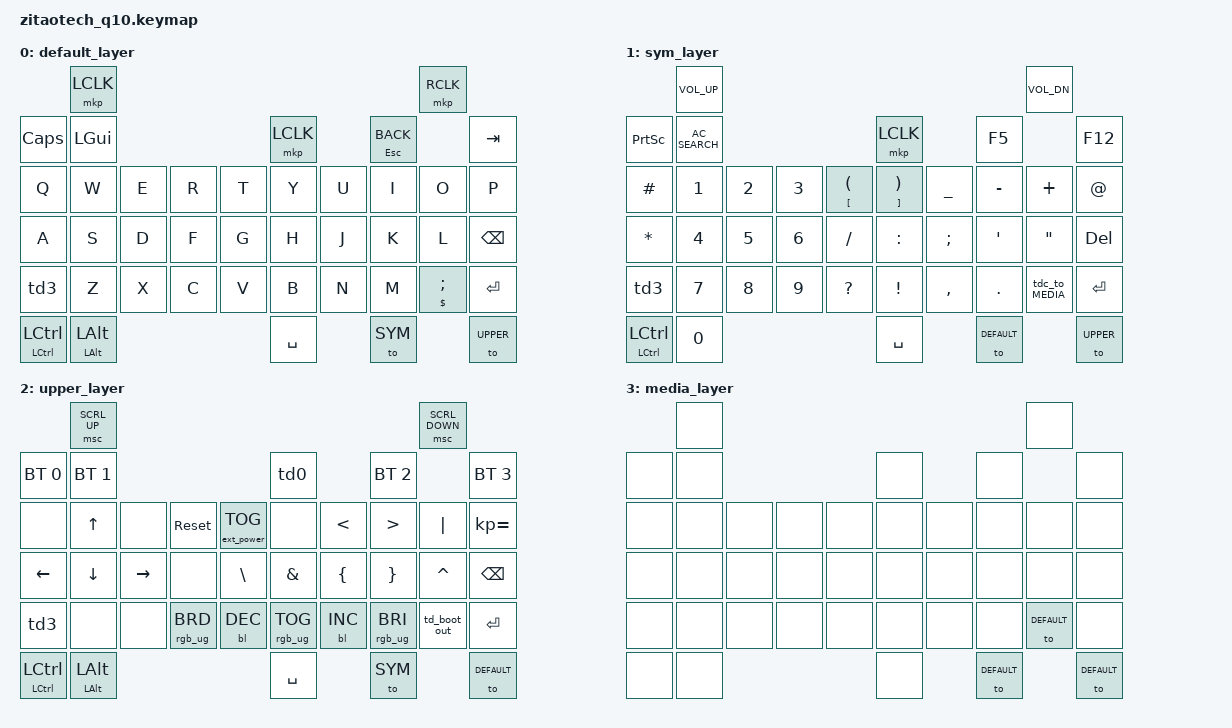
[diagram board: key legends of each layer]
/*
 * Copyright (c) 2023 ZitaoTech
 *
 * SPDX-License-Identifier: MIT
 */
   
#include <behaviors.dtsi>
#include <dt-bindings/zmk/keys.h>
#include <dt-bindings/zmk/bt.h>
#include <dt-bindings/zmk/outputs.h>
#include <dt-bindings/zmk/mouse.h>
#include <dt-bindings/zmk/backlight.h>
#include <dt-bindings/zmk/ext_power.h>
#include <dt-bindings/zmk/rgb.h>


#include <zephyr/dt-bindings/input/input-event-codes.h>
#include <dt-bindings/zmk/keys.h>

#define DEFAULT 0
#define SYM 1
#define UPPER 2
#define MEDIA 3

#define SL_TO(layer) &sl_to layer layer //tap -> sticky layer, double tap -> to layer

&sl {
    release-after-ms = <3000>;
    };


/ {
    behaviors {
        td0: tap_dance_0 {
            compatible = "zmk,behavior-tap-dance";
            #binding-cells = <0>;
            tapping-term-ms = <400>;
            bindings = <&mkp LCLK>, <&bt BT_CLR>;
        };
    };
    behaviors {
        td_boot_out: td_boot_out {
            compatible = "zmk,behavior-tap-dance";
            #binding-cells = <0>;
            tapping-term-ms = <400>;           
            bindings = <&bootloader>, <&out OUT_TOG>;
        };
    };
    behaviors {
        tdc_to_SYM: td_comma_to_layer {
            compatible = "zmk,behavior-tap-dance";
            #binding-cells = <0>;
            tapping-term-ms = <400>;
            bindings = <&mt DLLR SEMI>, <&to SYM>;
        };
    };
    behaviors {
        tdc_to_MEDIA: td_mute_to_layer {
            compatible = "zmk,behavior-tap-dance";
            #binding-cells = <0>;
            tapping-term-ms = <400>;
            bindings = <&kp C_MUTE>, <&to MEDIA>;
        };
    };
    behaviors {
        td1: tap_stickylayer_doubletap_tolayer_1 {
            compatible = "zmk,behavior-tap-dance";
            #binding-cells = <0>;
            tapping-term-ms = <400>;
            bindings = <&sl 1>, <&to 1>;
        };
    };
    behaviors {
        td2: tap_stickylayer_doubletap_tolayer_2 {
            compatible = "zmk,behavior-tap-dance";
            #binding-cells = <0>;
            tapping-term-ms = <400>;
            bindings = <&sl 2>, <&to 2>;
        };
    };
    behaviors {
        td3: tap_shift_doubletap_caps {
            compatible = "zmk,behavior-tap-dance";
            #binding-cells = <0>;
            tapping-term-ms = <400>;
            bindings = <&sk LSHFT>, <&kp CLCK>;
        };
    };
    behaviors {
    sk_kp: behavior_sk_kp {
        compatible = "zmk,behavior-hold-tap";
        #binding-cells = <2>;
        flavor = "hold-preferred";      
        tapping-term-ms = <400>;       
        bindings = <&kp &sk>;          /* hold=kp, tap=sticky key */
        };
    };
    behaviors {
        hm: homerow_mods {
            compatible = "zmk,behavior-hold-tap";
            #binding-cells = <2>;
            tapping-term-ms = <500>;
            bindings = <&out &kp>;
        };
    };

    keymap {
        compatible = "zmk,keymap";

        default_layer {

            bindings = <
//         --------------------------------------------------------------------------------------------------------------------------         
//         |    Shoulder Key1    |                                                                             |    Shoulder Key2    |     
// |         Call key      |      Blackberry Key        |    Trackpad    |             Back Key                |             Endcall Key          |
// |     Q      |     W    |     E    |     R    |      T      |       Y        |       U        |        I        |       O      |      P        |     
// |     A      |     S    |     D    |     F    |      G      |       H        |       J        |        K        |       L      |      ←        |  
// |     alt    |     Z    |     X    |     C    |      V      |       B        |       N        |        M        |       $      |    Enter      |   
//        |         aA     |         0           |           SPACE              |         SYM         |        aA          |       
//        -----------------------------------------------------------------------------------------------------------------

                 &mkp LCLK                                                                                          &mkp RCLK
    &kp CLCK                &kp LGUI                            &mkp LCLK                          &mt ESC K_BACK                    &kp TAB
    &kp Q              &kp W      &kp E       &kp R     &kp T         &kp Y             &kp U            &kp I            &kp O            &kp P
    &kp A              &kp S      &kp D       &kp F     &kp G         &kp H             &kp J            &kp K            &kp L            &kp BSPC
    &td3               &kp Z      &kp X       &kp C     &kp V         &kp B             &kp N            &kp M            &mt DLLR SEMI    &kp ENTER
    &sk_kp LCTRL LCTRL &sk_kp LALT LALT                         &kp SPACE                          &to SYM                           &to UPPER 
            >;
        };

        sym_layer {

            bindings = <        
                 &kp C_VOL_UP                                                                                       &kp C_VOL_DN
    &kp PSCRN                  &kp C_AC_SEARCH                     &mkp LCLK                          &kp F5                            &kp F12 
    &kp HASH        &kp N1     &kp N2      &kp N3    &mt LBKT LPAR &mt RBKT RPAR     &kp UNDER        &kp MINUS        &kp PLUS         &kp AT
    &kp STAR        &kp N4     &kp N5      &kp N6    &kp SLASH     &kp COLON         &kp SEMI         &kp APOS         &kp DQT          &kp DEL
    &td3            &kp N7     &kp N8      &kp N9    &kp QMARK     &kp EXCL          &kp COMMA        &kp DOT          &tdc_to_MEDIA    &kp ENTER
    &sk_kp LCTRL LCTRL         &kp N0                              &kp SPACE                          &to DEFAULT                       &to UPPER
            >;
        };

        upper_layer {

            bindings = <
                 &msc SCRL_UP                                                                                       &msc SCRL_DOWN
    &bt BT_SEL 0            &bt BT_SEL 1                             &td0                           &bt BT_SEL 2                     &bt BT_SEL 3
    &none        &kp UP     &none       &sys_reset      &ext_power EP_TOG   &none            &kp LT           &kp GT           &kp PIPE         &kp KP_EQUAL
    &kp LEFT     &kp DOWN   &kp RIGHT   &none           &kp BSLH            &kp AMPS         &kp LBRC         &kp RBRC         &kp CARET        &kp BSPC
    &td3         &none      &none       &rgb_ug RGB_BRD &bl BL_DEC          &rgb_ug RGB_TOG  &bl BL_INC       &rgb_ug RGB_BRI  &td_boot_out     &kp ENTER
    &sk_kp LCTRL LCTRL      &sk_kp LALT LALT                         &kp  SPACE                        &to SYM                           &to DEFAULT
            >;
        };

        media_layer {

            bindings = <
                 &none                                                                                        &none
    &none                  &none                               &none                         &none                            &none
    &none        &none     &none       &none      &none        &none         &none           &none           &none            &none
    &none        &none     &none       &none      &none        &none         &none           &none           &none            &none
    &none        &none     &none       &none      &none        &none         &none           &none           &to DEFAULT      &none
    &none                  &none                               &none                         &to DEFAULT                      &to DEFAULT
            >;
        };
    };
};
